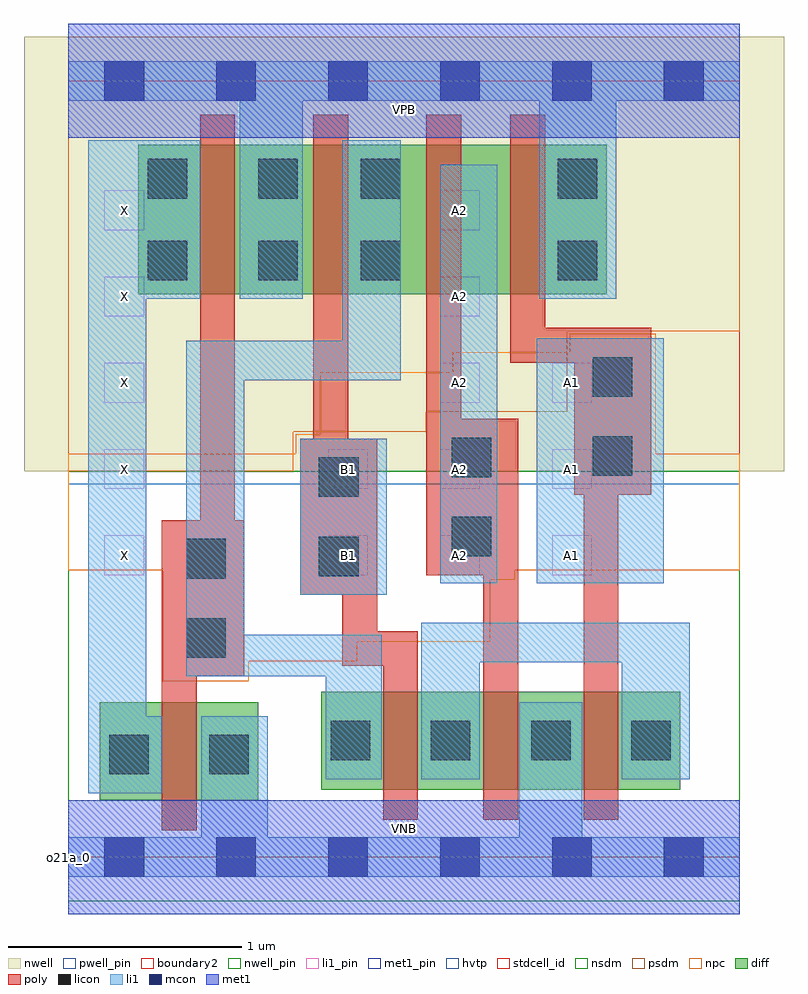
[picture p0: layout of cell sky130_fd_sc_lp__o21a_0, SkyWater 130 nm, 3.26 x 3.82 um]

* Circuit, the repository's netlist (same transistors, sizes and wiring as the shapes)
* Copyright 2020 The SkyWater PDK Authors
*
* Licensed under the Apache License, Version 2.0 (the "License");
* you may not use this file except in compliance with the License.
* You may obtain a copy of the License at
*
*     https://www.apache.org/licenses/LICENSE-2.0
*
* Unless required by applicable law or agreed to in writing, software
* distributed under the License is distributed on an "AS IS" BASIS,
* WITHOUT WARRANTIES OR CONDITIONS OF ANY KIND, either express or implied.
* See the License for the specific language governing permissions and
* limitations under the License.
*
* SPDX-License-Identifier: Apache-2.0

.SUBCKT sky130_fd_sc_lp__o21a_0 A1 A2 B1 VGND VNB VPB VPWR X
*.PININFO A1:I A2:I B1:I VGND:I VNB:I VPB:I VPWR:I X:O
MMPA0 VPWR A1 sndA1 VPB sky130_fd_pr__pfet_01v8_hvt m=1 w=0.64U l=0.15U mult=1
+ sa=0.265 sb=0.265 sd=0.28 area=0.063 perim=1.14
MMPA1 sndA1 A2 y VPB sky130_fd_pr__pfet_01v8_hvt m=1 w=0.64U l=0.15U mult=1 sa=0.265
+ sb=0.265 sd=0.28 area=0.063 perim=1.14
MMPB0 VPWR B1 y VPB sky130_fd_pr__pfet_01v8_hvt m=1 w=0.64U l=0.15U mult=1 sa=0.265
+ sb=0.265 sd=0.28 area=0.063 perim=1.14
MMIPX X y VPWR VPB sky130_fd_pr__pfet_01v8_hvt m=1 w=0.64U l=0.15U mult=1 sa=0.265
+ sb=0.265 sd=0.28 area=0.063 perim=1.14
MMNA0 pndA A1 VGND VNB sky130_fd_pr__nfet_01v8 m=1 w=0.42U l=0.15U mult=1 sa=0.265
+ sb=0.265 sd=0.28 area=0.063 perim=1.14
MMNA1 pndA A2 VGND VNB sky130_fd_pr__nfet_01v8 m=1 w=0.42U l=0.15U mult=1 sa=0.265
+ sb=0.265 sd=0.28 area=0.063 perim=1.14
MMNB0 y B1 pndA VNB sky130_fd_pr__nfet_01v8 m=1 w=0.42U l=0.15U mult=1 sa=0.265
+ sb=0.265 sd=0.28 area=0.063 perim=1.14
MMINX X y VGND VNB sky130_fd_pr__nfet_01v8 m=1 w=0.42U l=0.15U mult=1 sa=0.265
+ sb=0.265 sd=0.28 area=0.063 perim=1.14
.ENDS sky130_fd_sc_lp__o21a_0

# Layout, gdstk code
import gdstk
lib = gdstk.Library(unit=1e-6, precision=1e-09)
def R(c, l, rs):  # rectangles x0, y0, x1, y1
    for r in rs: c.add(gdstk.rectangle(r[:2], r[2:], *l))
def A(c, l, x, y, w, h, nx, ny, dx, dy):  # array of equal rectangles
    R(c, l, [(x+i*dx, y+j*dy, x+i*dx+w, y+j*dy+h) for i in range(nx) for j in range(ny)])
def P(c, l, *ps):  # polygons
    for p in ps: c.add(gdstk.Polygon(p, *l))
nwell_pin = (64, 16)
nwell = (64, 20)
diff = (65, 20)
poly = (66, 20)
licon = (66, 44)
li1_pin = (67, 16)
li1 = (67, 20)
mcon = (67, 44)
met1_pin = (68, 16)
met1 = (68, 20)
hvtp = (78, 44)
stdcell_id = (81, 4)
nsdm = (93, 44)
psdm = (94, 20)
npc = (95, 20)
pwell_pin = (122, 16)
boundary2 = (236, 0)

sky130_fd_sc_lp__o21a_0 = lib.new_cell('sky130_fd_sc_lp__o21a_0')
R(sky130_fd_sc_lp__o21a_0, nwell_pin, [(0,3.085,2.88,3.33)])
R(sky130_fd_sc_lp__o21a_0, nwell, [(-0.19,1.655,3.07,3.52)])
R(sky130_fd_sc_lp__o21a_0, diff, [(0.135,0.245,0.815,0.665), (1.085,0.29,2.625,0.71), (0.3,2.415,2.31,3.055)])
P(sky130_fd_sc_lp__o21a_0, poly, [(0.755,1.445),(0.715,1.445),(0.715,3.185),(0.565,3.185),(0.565,1.445),(0.4,1.445),(0.4,0.115),(0.55,0.115),(0.55,0.775),(0.755,0.775)],
  [(1.93,1.88),(1.685,1.88),(1.685,3.185),(1.535,3.185),(1.535,1.21),(1.78,1.21),(1.78,0.16),(1.93,0.16)],
  [(2.5,2.27),(2.045,2.27),(2.045,3.185),(1.895,3.185),(1.895,2.12),(2.17,2.12),(2.17,1.555),(2.21,1.555),(2.21,0.16),(2.36,0.16),(2.36,1.555),(2.5,1.555)],
  [(1.5,0.97),(1.325,0.97),(1.325,1.795),(1.2,1.795),(1.2,3.185),(1.05,3.185),(1.05,1.795),(0.995,1.795),(0.995,1.125),(1.175,1.125),(1.175,0.82),(1.35,0.82),(1.35,0.16),(1.5,0.16)])
A(sky130_fd_sc_lp__o21a_0, licon, 1.125, 0.415, 0.17, 0.17, 4, 1, 0.43, 0)
R(sky130_fd_sc_lp__o21a_0, licon, [(0.175,0.355,0.345,0.525), (0.605,0.355,0.775,0.525), (0.505,0.855,0.675,1.025), (0.505,1.195,0.675,1.365), (1.075,1.205,1.245,1.375), (1.645,1.29,1.815,1.46), (1.075,1.545,1.245,1.715), (1.645,1.63,1.815,1.8), (2.25,1.635,2.42,1.805), (2.25,1.975,2.42,2.145), (0.34,2.475,0.51,2.645), (0.815,2.475,0.985,2.645), (1.255,2.475,1.425,2.645), (2.1,2.475,2.27,2.645), (0.34,2.825,0.51,2.995), (0.815,2.825,0.985,2.995), (1.255,2.825,1.425,2.995), (2.1,2.825,2.27,2.995)])
A(sky130_fd_sc_lp__o21a_0, li1_pin, 0.155, 1.21, 0.17, 0.17, 1, 5, 0, 0.37)
A(sky130_fd_sc_lp__o21a_0, li1_pin, 1.115, 1.21, 0.17, 0.17, 3, 2, 0.48, 0.37)
A(sky130_fd_sc_lp__o21a_0, li1_pin, 1.595, 1.95, 0.17, 0.17, 1, 3, 0, 0.37)
R(sky130_fd_sc_lp__o21a_0, li1_pin, [(2.075,1.95,2.245,2.12)])
R(sky130_fd_sc_lp__o21a_0, li1, [(0.995,1.125,1.365,1.795), (1.595,1.175,1.84,2.97), (2.01,1.175,2.555,2.225)])
P(sky130_fd_sc_lp__o21a_0, li1, [(2.02,2.395),(2.02,3.245),(1.005,3.245),(1.005,2.395),(0.735,2.395),(0.735,3.245),(0,3.245),(0,3.415),(2.88,3.415),(2.88,3.245),(2.35,3.245),(2.35,2.395)],
  [(1.935,0.085),(1.935,0.665),(2.205,0.665),(2.205,0.085),(2.88,0.085),(2.88,-0.085),(0,-0.085),(0,0.085),(0.57,0.085),(0.57,0.605),(0.855,0.605),(0.855,0.085)],
  [(2.375,0.335),(2.375,0.835),(1.765,0.835),(1.765,0.335),(1.515,0.335),(1.515,1.005),(2.665,1.005),(2.665,0.335)],
  [(0.505,2.215),(1.175,2.215),(1.175,3.075),(1.425,3.075),(1.425,2.045),(0.755,2.045),(0.755,0.955),(1.345,0.955),(1.345,0.335),(1.105,0.335),(1.105,0.775),(0.505,0.775)],
  [(0.335,2.395),(0.335,0.605),(0.4,0.605),(0.4,0.275),(0.085,0.275),(0.085,3.075),(0.565,3.075),(0.565,2.395)])
A(sky130_fd_sc_lp__o21a_0, mcon, 0.155, -0.085, 0.17, 0.17, 6, 2, 0.48, 3.33)
R(sky130_fd_sc_lp__o21a_0, met1_pin, [(0,0,2.88,0.245), (0,3.085,2.88,3.33)])
R(sky130_fd_sc_lp__o21a_0, met1, [(0,-0.245,2.88,0.245), (0,3.085,2.88,3.575)])
R(sky130_fd_sc_lp__o21a_0, hvtp, [(0,1.6,2.88,3.33)])
R(sky130_fd_sc_lp__o21a_0, stdcell_id, [(0,0,2.88,3.33)])
R(sky130_fd_sc_lp__o21a_0, nsdm, [(0,-0.19,2.88,1.655)])
P(sky130_fd_sc_lp__o21a_0, psdm, [(2.88,3.52),(0,3.52),(0,1.655),(0.965,1.655),(0.965,1.825),(1.535,1.825),(1.535,1.91),(2.14,1.91),(2.14,2.255),(2.88,2.255)])
P(sky130_fd_sc_lp__o21a_0, npc, [(2.88,1.73),(2.52,1.73),(2.52,2.245),(2.15,2.245),(2.15,2.165),(1.65,2.165),(1.65,2.08),(1.08,2.08),(1.08,1.815),(0.975,1.815),(0.975,1.73),(0,1.73),(0,1.23),(0.405,1.23),(0.405,0.755),(0.775,0.755),(0.775,0.84),(1.24,0.84),(1.24,0.925),(1.81,0.925),(1.81,1.19),(1.915,1.19),(1.915,1.23),(2.88,1.23)])
R(sky130_fd_sc_lp__o21a_0, pwell_pin, [(0,0,2.88,0.245)])
R(sky130_fd_sc_lp__o21a_0, boundary2, [(0,0,2.88,3.33)])
sky130_fd_sc_lp__o21a_0.add(gdstk.Label('VNB', (1.44,0.123), layer=64, texttype=59))
sky130_fd_sc_lp__o21a_0.add(gdstk.Label('VPB', (1.44,3.208), layer=64, texttype=5))
sky130_fd_sc_lp__o21a_0.add(gdstk.Label('o21a_0', (0,0), layer=83, texttype=44))
sky130_fd_sc_lp__o21a_0.add(gdstk.Label('VPWR', (1.44,3.208), layer=68, texttype=5))
sky130_fd_sc_lp__o21a_0.add(gdstk.Label('VGND', (1.44,0.123), layer=68, texttype=5))
sky130_fd_sc_lp__o21a_0.add(gdstk.Label('A1', (2.16,1.295), layer=67, texttype=5))
sky130_fd_sc_lp__o21a_0.add(gdstk.Label('A1', (2.16,1.665), layer=67, texttype=5))
sky130_fd_sc_lp__o21a_0.add(gdstk.Label('A1', (2.16,2.035), layer=67, texttype=5))
sky130_fd_sc_lp__o21a_0.add(gdstk.Label('A2', (1.68,1.295), layer=67, texttype=5))
sky130_fd_sc_lp__o21a_0.add(gdstk.Label('A2', (1.68,1.665), layer=67, texttype=5))
sky130_fd_sc_lp__o21a_0.add(gdstk.Label('A2', (1.68,2.035), layer=67, texttype=5))
sky130_fd_sc_lp__o21a_0.add(gdstk.Label('A2', (1.68,2.405), layer=67, texttype=5))
sky130_fd_sc_lp__o21a_0.add(gdstk.Label('A2', (1.68,2.775), layer=67, texttype=5))
sky130_fd_sc_lp__o21a_0.add(gdstk.Label('B1', (1.2,1.295), layer=67, texttype=5))
sky130_fd_sc_lp__o21a_0.add(gdstk.Label('B1', (1.2,1.665), layer=67, texttype=5))
sky130_fd_sc_lp__o21a_0.add(gdstk.Label('X', (0.24,1.295), layer=67, texttype=5))
sky130_fd_sc_lp__o21a_0.add(gdstk.Label('X', (0.24,1.665), layer=67, texttype=5))
sky130_fd_sc_lp__o21a_0.add(gdstk.Label('X', (0.24,2.035), layer=67, texttype=5))
sky130_fd_sc_lp__o21a_0.add(gdstk.Label('X', (0.24,2.405), layer=67, texttype=5))
sky130_fd_sc_lp__o21a_0.add(gdstk.Label('X', (0.24,2.775), layer=67, texttype=5))

lib.write_gds('sky130_fd_sc_lp__o21a_0.gds')
